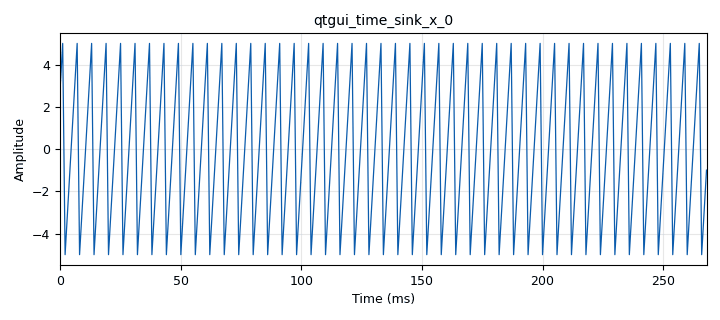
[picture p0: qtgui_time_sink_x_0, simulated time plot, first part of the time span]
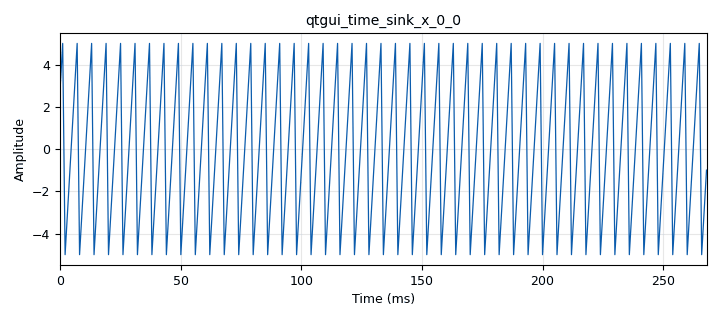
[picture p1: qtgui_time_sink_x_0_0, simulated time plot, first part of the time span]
options:
  parameters:
    generate_options: qt_gui
    id: PT_1
    output_language: python
    title: Not titled yet
  states: {}

blocks:
- name: samp_rate
  id: variable
  parameters:
    value: '32000'
  states: {}
- name: blocks_throttle2_0
  id: blocks_throttle2
  parameters:
    samples_per_second: samp_rate
    type: float
  states: {}
- name: blocks_vector_source_x_0
  id: blocks_vector_source_x
  parameters:
    repeat: 'True'
    type: float
    vector: (-5, -3, -1, 1, 3, 5)
  states: {}
- name: epy_block_1
  id: epy_block
  parameters:
    _source_code: |-
      import numpy as np
      from gnuradio import gr

      class blk(gr.sync_block):
          """
          Bloque estadístico:
          - Media
          - Potencia
          - Varianza
          """

          def __init__(self):
              gr.sync_block.__init__(
                  self,
                  name="Statistics Block",
                  in_sig=[np.float32],
                  out_sig=[np.float32]
              )

          def work(self, input_items, output_items):
              x = input_items[0]
              y = output_items[0]

              mean = np.mean(x)
              power = np.mean(x**2)
              variance = np.var(x)

              print("Media:", mean)
              print("Potencia:", power)
              print("Varianza:", variance)
              print("------------------")

              y[:] = x  # deja pasar la señal

              return len(y)
  states: {}
- name: qtgui_time_sink_x_0
  id: qtgui_time_sink_x
  parameters:
    autoscale: 'True'
    grid: 'True'
    size: '1024'
    srate: '1000'
    type: float
  states: {}
- name: qtgui_time_sink_x_0_0
  id: qtgui_time_sink_x
  parameters:
    autoscale: 'True'
    grid: 'True'
    size: '1024'
    srate: '1000'
    type: float
  states: {}

connections:
- [blocks_throttle2_0, '0', epy_block_1, '0']
- [blocks_vector_source_x_0, '0', blocks_throttle2_0, '0']
- [blocks_vector_source_x_0, '0', qtgui_time_sink_x_0_0, '0']
- [epy_block_1, '0', qtgui_time_sink_x_0, '0']

metadata:
  file_format: 1
  grc_version: v3.10.11.0-89-ga17f69e7
